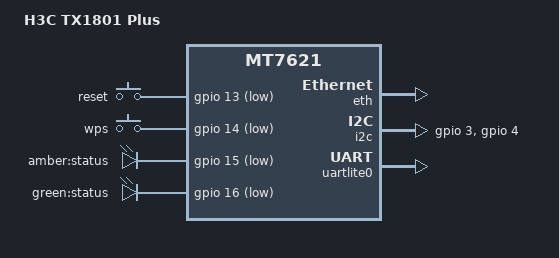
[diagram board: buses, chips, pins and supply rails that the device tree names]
// SPDX-License-Identifier: GPL-2.0+

/dts-v1/;
#include "mt7621.dtsi"

#include <dt-bindings/gpio/gpio.h>
#include <dt-bindings/input/input.h>

/ {
	model = "H3C TX1801 Plus";
	compatible = "h3c,tx1801-plus", "mediatek,mt7621-soc";

	chosen {
		stdout-path = &uartlite0;
	};

	config {
		reset-button = "reset";
		wps-button = "wps";
		status1-led = "green:status";
		status2-led = "amber:status";
	};

	keys {
		compatible = "gpio-keys";

		reset {
			label = "reset";
			gpios = <&gpio 13 GPIO_ACTIVE_LOW>;
			linux,code = <KEY_RESTART>;
		};

		wps {
			label = "wps";
			gpios = <&gpio 14 GPIO_ACTIVE_LOW>;
			linux,code = <KEY_WPS_BUTTON>;
		};
	};

	leds {
		compatible = "gpio-leds";

		led-amber {
			label = "amber:status";
			gpios = <&gpio 15 GPIO_ACTIVE_LOW>;
			default-state = "off";
		};

		led-green {
			label = "green:status";
			gpios = <&gpio 16 GPIO_ACTIVE_LOW>;
			default-state = "on";
		};
	};
};

&eth {
	status = "okay";
};

&gpio {
	status = "okay";
};

&i2c {
	gpios = <&gpio 3 1>, /* PIN3 as SDA */
		<&gpio 4 1>; /* PIN4 as CLK */
};

&state_default {
	/delete-node/ rgmii2-gpio_pins;
	/delete-node/ spi_pins;
	/delete-node/ sdhci-gpio_pins;
};

&uartlite0 {
	status = "okay";
};
